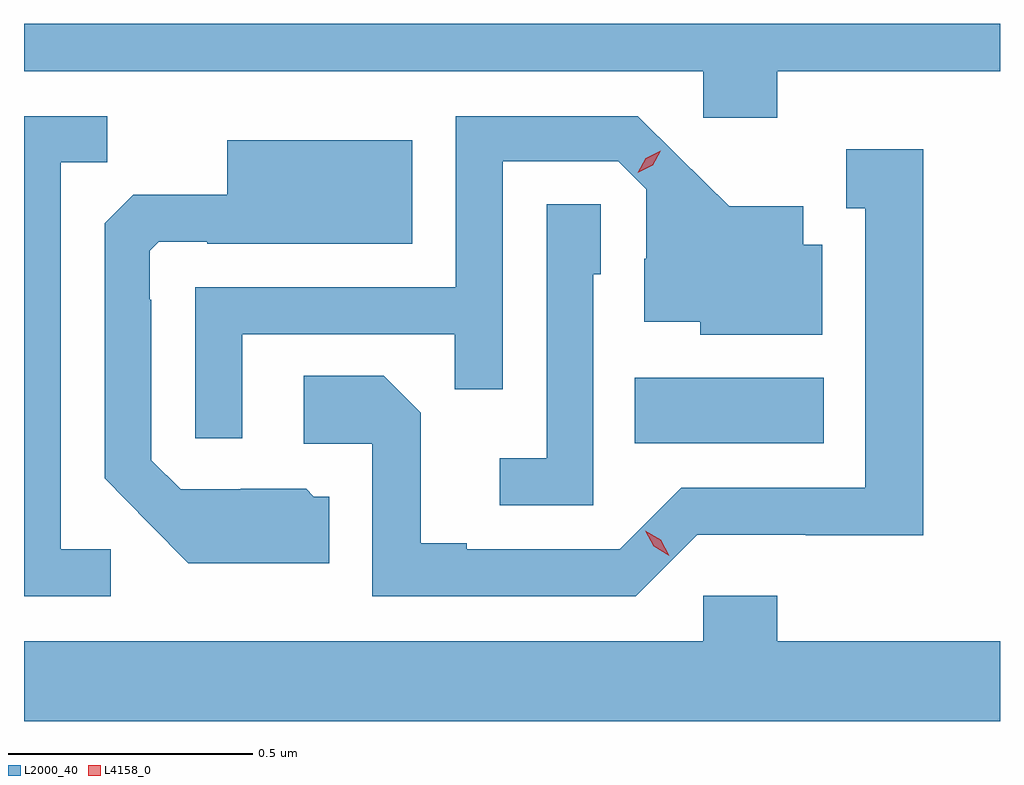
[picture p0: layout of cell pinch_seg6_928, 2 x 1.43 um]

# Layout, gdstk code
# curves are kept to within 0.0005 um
import gdstk
lib = gdstk.Library(unit=1e-6, precision=1e-09)
def R(c, l, rs):  # rectangles x0, y0, x1, y1
    for r in rs: c.add(gdstk.rectangle(r[:2], r[2:], *l))
def P(c, l, *ps):  # polygons
    for p in ps: c.add(gdstk.Polygon(p, *l))
L2000_40 = (2000, 40)
L4158_0 = (4158, 0)

pinch_seg6_928 = lib.new_cell('pinch_seg6_928')
R(pinch_seg6_928, L2000_40, [(119.164,921.266,119.551,921.4)])
P(pinch_seg6_928, L2000_40, [(119.456,922.028),(119.912,922.028),(119.912,922.125),(117.912,922.125),(117.912,922.028),(119.304,922.028),(119.304,921.933),(119.456,921.933)],
  [(118.359,921.489),(118.795,921.489),(118.795,921.376),(118.893,921.376),(118.893,921.843),(119.13,921.843),(119.187,921.786),(119.187,921.644),(119.183,921.644),(119.183,921.515),(119.298,921.515),(119.298,921.488),(119.548,921.488),(119.548,921.672),(119.509,921.672),(119.509,921.751),(119.357,921.751),(119.17,921.936),(118.797,921.936),(118.797,921.585),(118.263,921.585),(118.263,921.276),(118.359,921.276)],
  [(118.09,921.048),(117.987,921.048),(117.987,921.841),(118.083,921.841),(118.083,921.936),(117.912,921.936),(117.912,920.952),(118.09,920.952)],
  [(118.537,921.156),(118.506,921.156),(118.49,921.172),(118.356,921.172),(118.356,921.171),(118.233,921.171),(118.173,921.231),(118.173,921.56),(118.17,921.56),(118.17,921.66),(118.188,921.678),(118.288,921.678),(118.288,921.674),(118.708,921.674),(118.708,921.886),(118.328,921.886),(118.328,921.775),(118.136,921.775),(118.077,921.716),(118.077,921.194),(118.249,921.02),(118.537,921.02)],
  [(119.292,921.078),(119.514,921.078),(119.514,921.077),(119.755,921.077),(119.755,921.868),(119.597,921.868),(119.597,921.747),(119.636,921.747),(119.636,921.174),(119.259,921.174),(119.133,921.048),(118.819,921.048),(118.819,921.061),(118.725,921.061),(118.725,921.328),(118.649,921.404),(118.485,921.404),(118.485,921.264),(118.626,921.264),(118.626,920.952),(119.166,920.952)],
  [(119.079,921.612),(119.094,921.612),(119.094,921.755),(118.983,921.755),(118.983,921.235),(118.887,921.235),(118.887,921.138),(119.079,921.138)],
  [(119.912,920.86),(119.456,920.86),(119.456,920.953),(119.304,920.953),(119.304,920.86),(117.912,920.86),(117.912,920.696),(119.912,920.696)])
P(pinch_seg6_928, L4158_0, [(119.234,921.035),(119.202,921.054),(119.185,921.086),(119.185,921.086),(119.185,921.086),(119.217,921.068),(119.234,921.035),(119.234,921.035)],
  [(119.17,921.82),(119.17,921.82),(119.186,921.85),(119.217,921.865),(119.217,921.865),(119.217,921.865),(119.2,921.835),(119.17,921.82)])

lib.write_gds('pinch_seg6_928.gds')
